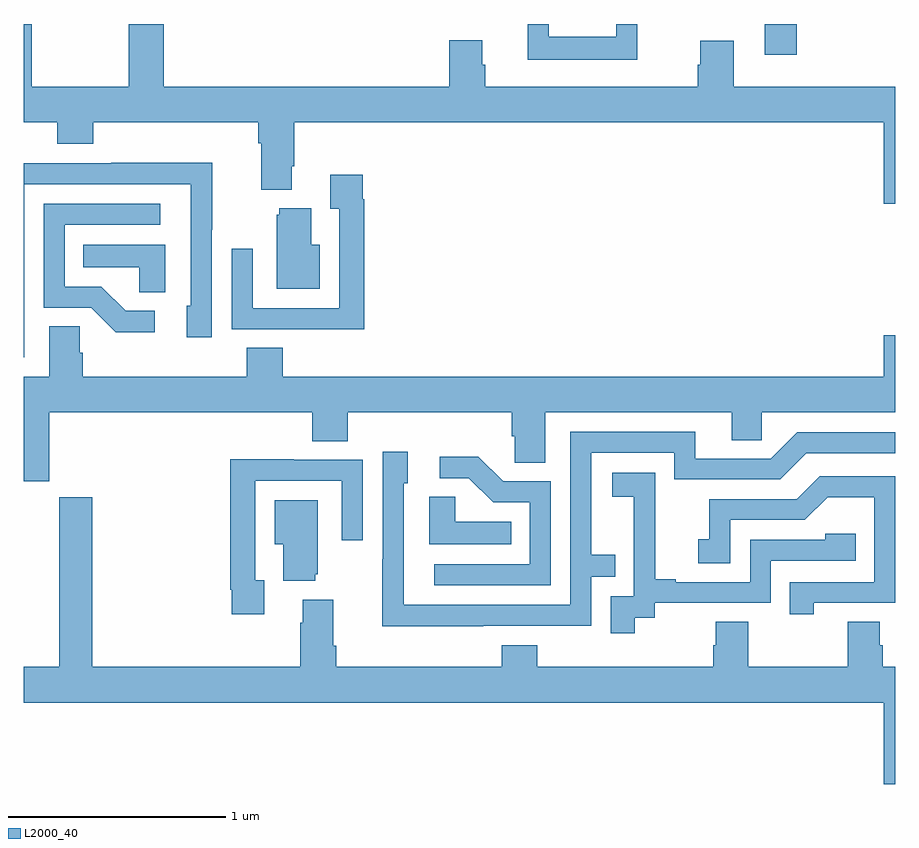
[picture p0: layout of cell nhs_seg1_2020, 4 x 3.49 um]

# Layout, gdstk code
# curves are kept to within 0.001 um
import gdstk
lib = gdstk.Library(unit=1e-6, precision=1e-09)
def R(c, l, rs):  # rectangles x0, y0, x1, y1
    for r in rs: c.add(gdstk.rectangle(r[:2], r[2:], *l))
def P(c, l, *ps):  # polygons
    for p in ps: c.add(gdstk.Polygon(p, *l))
L2000_40 = (2000, 40)

nhs_seg1_2020 = lib.new_cell('nhs_seg1_2020')
R(nhs_seg1_2020, L2000_40, [(224.402,536.058,224.549,536.199)])
P(nhs_seg1_2020, L2000_40, [(225,535.912),(224.258,535.912),(224.258,536.121),(224.105,536.121),(224.105,536.012),(224.093,536.012),(224.093,535.912),(223.118,535.912),(223.118,536.013),(223.105,536.013),(223.105,536.125),(222.953,536.125),(222.953,535.912),(221.642,535.912),(221.642,536.199),(221.482,536.199),(221.482,535.912),(221.037,535.912),(221.037,536.199),(221,536.199),(221,535.748),(221.153,535.748),(221.153,535.649),(221.318,535.649),(221.318,535.748),(222.077,535.748),(222.077,535.652),(222.089,535.652),(222.089,535.439),(222.229,535.439),(222.229,535.546),(222.242,535.546),(222.242,535.748),(224.948,535.748),(224.948,535.374),(225,535.374)],
  [(223.816,536.199),(223.719,536.199),(223.719,536.14),(223.41,536.14),(223.41,536.199),(223.313,536.199),(223.313,536.036),(223.816,536.036)],
  [(221.001,535.464),(221.766,535.464),(221.766,534.906),(221.747,534.906),(221.747,534.762),(221.862,534.762),(221.862,535.255),(221.865,535.255),(221.865,535.562),(221.401,535.562),(221.401,535.56),(221,535.56),(221,534.669),(221.001,534.669)],
  [(222.563,535.394),(222.556,535.394),(222.556,535.507),(222.407,535.507),(222.407,535.351),(222.447,535.351),(222.447,534.894),(222.051,534.894),(222.051,535.168),(221.955,535.168),(221.955,534.798),(222.271,534.798),(222.271,534.797),(222.563,534.797)],
  [(221.602,534.882),(221.467,534.882),(221.356,534.993),(221.187,534.993),(221.187,535.278),(221.626,535.278),(221.626,535.374),(221.091,535.374),(221.091,534.897),(221.31,534.897),(221.423,534.785),(221.602,534.785)],
  [(222.358,535.186),(222.319,535.186),(222.319,535.354),(222.173,535.354),(222.173,535.323),(222.161,535.323),(222.161,534.983),(222.358,534.983)],
  [(221.65,535.186),(221.272,535.186),(221.272,535.082),(221.529,535.082),(221.529,534.967),(221.65,534.967)],
  [(221.116,534.416),(222.323,534.416),(222.323,534.283),(222.488,534.283),(222.488,534.416),(223.241,534.416),(223.241,534.307),(223.254,534.307),(223.254,534.184),(223.393,534.184),(223.393,534.416),(224.249,534.416),(224.249,534.289),(224.388,534.289),(224.388,534.416),(225,534.416),(225,534.769),(224.948,534.769),(224.948,534.58),(222.188,534.58),(222.188,534.713),(222.023,534.713),(222.023,534.58),(221.27,534.58),(221.27,534.689),(221.256,534.689),(221.256,534.812),(221.117,534.812),(221.117,534.58),(221,534.58),(221,534.099),(221.116,534.099)],
  [(223.109,533.436),(223.605,533.436),(223.605,533.661),(223.715,533.661),(223.715,533.762),(223.605,533.762),(223.605,534.231),(223.986,534.231),(223.986,534.108),(224.472,534.108),(224.592,534.228),(225,534.228),(225,534.324),(224.55,534.324),(224.43,534.204),(224.083,534.204),(224.083,534.327),(223.509,534.327),(223.509,533.532),(222.744,533.532),(222.744,534.09),(222.763,534.09),(222.763,534.235),(222.648,534.235),(222.648,533.741),(222.646,533.741),(222.646,533.435)],
  [(223.419,534.099),(223.2,534.099),(223.087,534.212),(222.909,534.212),(222.909,534.114),(223.043,534.114),(223.154,534.003),(223.323,534.003),(223.323,533.718),(222.885,533.718),(222.885,533.622),(223.419,533.622)],
  [(222.103,533.646),(222.063,533.646),(222.063,534.102),(222.459,534.102),(222.459,533.829),(222.555,533.829),(222.555,534.198),(222.239,534.198),(222.239,534.2),(221.947,534.2),(221.947,533.602),(221.955,533.602),(221.955,533.49),(222.103,533.49)],
  [(223.804,533.473),(223.896,533.473),(223.896,533.541),(224.43,533.541),(224.43,533.736),(224.819,533.736),(224.819,533.859),(224.679,533.859),(224.679,533.832),(224.334,533.832),(224.334,533.637),(223.993,533.637),(223.993,533.65),(223.898,533.65),(223.898,533.933),(223.899,533.933),(223.899,534.139),(223.701,534.139),(223.701,534.029),(223.799,534.029),(223.799,533.801),(223.8,533.801),(223.8,533.571),(223.695,533.571),(223.695,533.403),(223.804,533.403)],
  [(224.626,533.541),(225,533.541),(225,534.123),(224.654,534.123),(224.549,534.018),(224.146,534.018),(224.146,533.833),(224.097,533.833),(224.097,533.724),(224.244,533.724),(224.244,533.922),(224.586,533.922),(224.69,534.026),(224.904,534.026),(224.904,533.637),(224.515,533.637),(224.515,533.49),(224.626,533.49)],
  [(223.238,533.914),(222.981,533.914),(222.981,534.029),(222.86,534.029),(222.86,533.81),(223.238,533.81)],
  [(225,533.248),(224.942,533.248),(224.942,533.346),(224.929,533.346),(224.929,533.456),(224.782,533.456),(224.782,533.248),(224.325,533.248),(224.325,533.456),(224.177,533.456),(224.177,533.346),(224.165,533.346),(224.165,533.248),(223.358,533.248),(223.358,533.347),(223.193,533.347),(223.193,533.248),(222.434,533.248),(222.434,533.344),(222.421,533.344),(222.421,533.557),(222.281,533.557),(222.281,533.45),(222.269,533.45),(222.269,533.248),(221.315,533.248),(221.315,534.027),(221.162,534.027),(221.162,533.248),(221,533.248),(221,533.084),(224.948,533.084),(224.948,532.71),(225,532.71)],
  [(222.338,533.673),(222.349,533.673),(222.349,534.013),(222.152,534.013),(222.152,533.81),(222.191,533.81),(222.191,533.642),(222.338,533.642)])

lib.write_gds('nhs_seg1_2020.gds')
